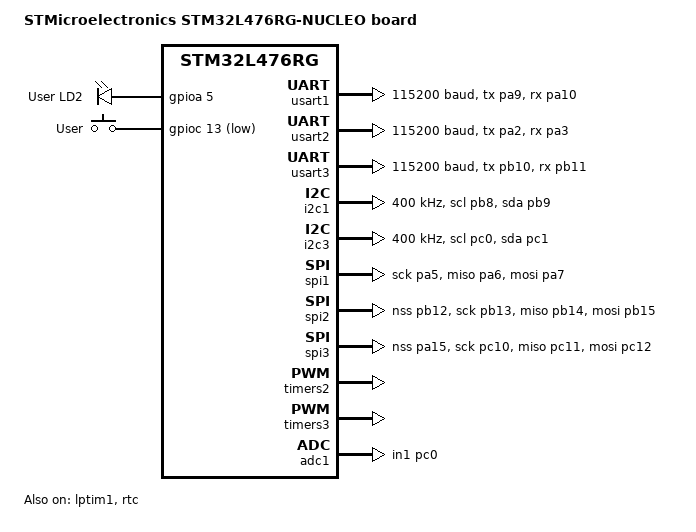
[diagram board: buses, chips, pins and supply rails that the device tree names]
/*
 * Copyright (c) 2017 Linaro Limited
 *
 * SPDX-License-Identifier: Apache-2.0
 */

/dts-v1/;
#include <st/l4/stm32l476Xg.dtsi>
#include <st/l4/stm32l476r(c-e-g)tx-pinctrl.dtsi>
#include "arduino_r3_connector.dtsi"

/ {
	model = "STMicroelectronics STM32L476RG-NUCLEO board";
	compatible = "st,stm32l476rg-nucleo";

	chosen {
		zephyr,console = &usart2;
		zephyr,shell-uart = &usart2;
		zephyr,sram = &sram0;
		zephyr,flash = &flash0;
	};

	leds {
		compatible = "gpio-leds";
		green_led_2: led_2 {
			gpios = <&gpioa 5 GPIO_ACTIVE_HIGH>;
			label = "User LD2";
		};
	};

	gpio_keys {
		compatible = "gpio-keys";
		user_button: button {
			label = "User";
			gpios = <&gpioc 13 GPIO_ACTIVE_LOW>;
		};
	};

	aliases {
		led0 = &green_led_2;
		sw0 = &user_button;
	};
};

&clk_lsi {
	status = "okay";
};

&clk_lse {
	status = "okay";
};

&clk_hsi {
	status = "okay";
};

&pll {
	div-m = <1>;
	mul-n = <20>;
	div-r = <4>;
	clocks = <&clk_hsi>;
	status = "okay";
};

&rcc {
	clocks = <&pll>;
	clock-frequency = <DT_FREQ_M(80)>;
	ahb-prescaler = <1>;
	apb1-prescaler = <1>;
	apb2-prescaler = <1>;
};

&cpu0 {
	cpu-power-states = <&stop0 &stop1 &stop2>;
};

&lptim1 {
	clocks = <&rcc STM32_CLOCK_BUS_APB1 0x80000000>,
		 <&rcc STM32_SRC_LSI LPTIM1_SEL(1)>;
	status = "okay";
};

&usart1 {
	pinctrl-0 = <&usart1_tx_pa9 &usart1_rx_pa10>;
	pinctrl-names = "default";
	current-speed = <115200>;
	status = "okay";
};

&usart2 {
	pinctrl-0 = <&usart2_tx_pa2 &usart2_rx_pa3>;
	pinctrl-names = "default";
	current-speed = <115200>;
	status = "okay";
};

&usart3 {
	pinctrl-0 = <&usart3_tx_pb10 &usart3_rx_pb11>;
	pinctrl-names = "default";
	current-speed = <115200>;
};

&i2c1 {
	pinctrl-0 = <&i2c1_scl_pb8 &i2c1_sda_pb9>;
	pinctrl-names = "default";
	status = "okay";
	clock-frequency = <I2C_BITRATE_FAST>;
};

&i2c3 {
	pinctrl-0 = <&i2c3_scl_pc0 &i2c3_sda_pc1>;
	pinctrl-names = "default";
	status = "okay";
	clock-frequency = <I2C_BITRATE_FAST>;
};

&spi1 {
	pinctrl-0 = <&spi1_sck_pa5 &spi1_miso_pa6 &spi1_mosi_pa7>;
	pinctrl-names = "default";
	cs-gpios = <&gpiob 6 (GPIO_ACTIVE_LOW | GPIO_PULL_UP)>;
	status = "okay";
};

&spi2 {
	pinctrl-0 = <&spi2_nss_pb12 &spi2_sck_pb13
		     &spi2_miso_pb14 &spi2_mosi_pb15>;
	pinctrl-names = "default";
	status = "okay";
};

&spi3 {
	/* SPI3 on the ST Morpho Connector CN7 pins 17, 1, 2, 3*/
	pinctrl-0 = <&spi3_nss_pa15 &spi3_sck_pc10
		     &spi3_miso_pc11 &spi3_mosi_pc12>;
	pinctrl-names = "default";
	status = "okay";
};

&timers2 {
	status = "okay";

	pwm2: pwm {
		status = "okay";
		pinctrl-0 = <&tim2_ch3_pb10>;
		pinctrl-names = "default";
	};
};

&timers3 {
	st,prescaler = <10000>;
	status = "okay";

	pwm3: pwm {
		status = "okay";
		pinctrl-0 = <&tim3_ch1_pb4>;
		pinctrl-names = "default";
	};
};

&rtc {
	clocks = <&rcc STM32_CLOCK_BUS_APB1 0x10000000>,
		 <&rcc STM32_SRC_LSI RTC_SEL(2)>;
	status = "okay";
};

&adc1 {
	pinctrl-0 = <&adc1_in1_pc0>;
	pinctrl-names = "default";
	status = "okay";
};
